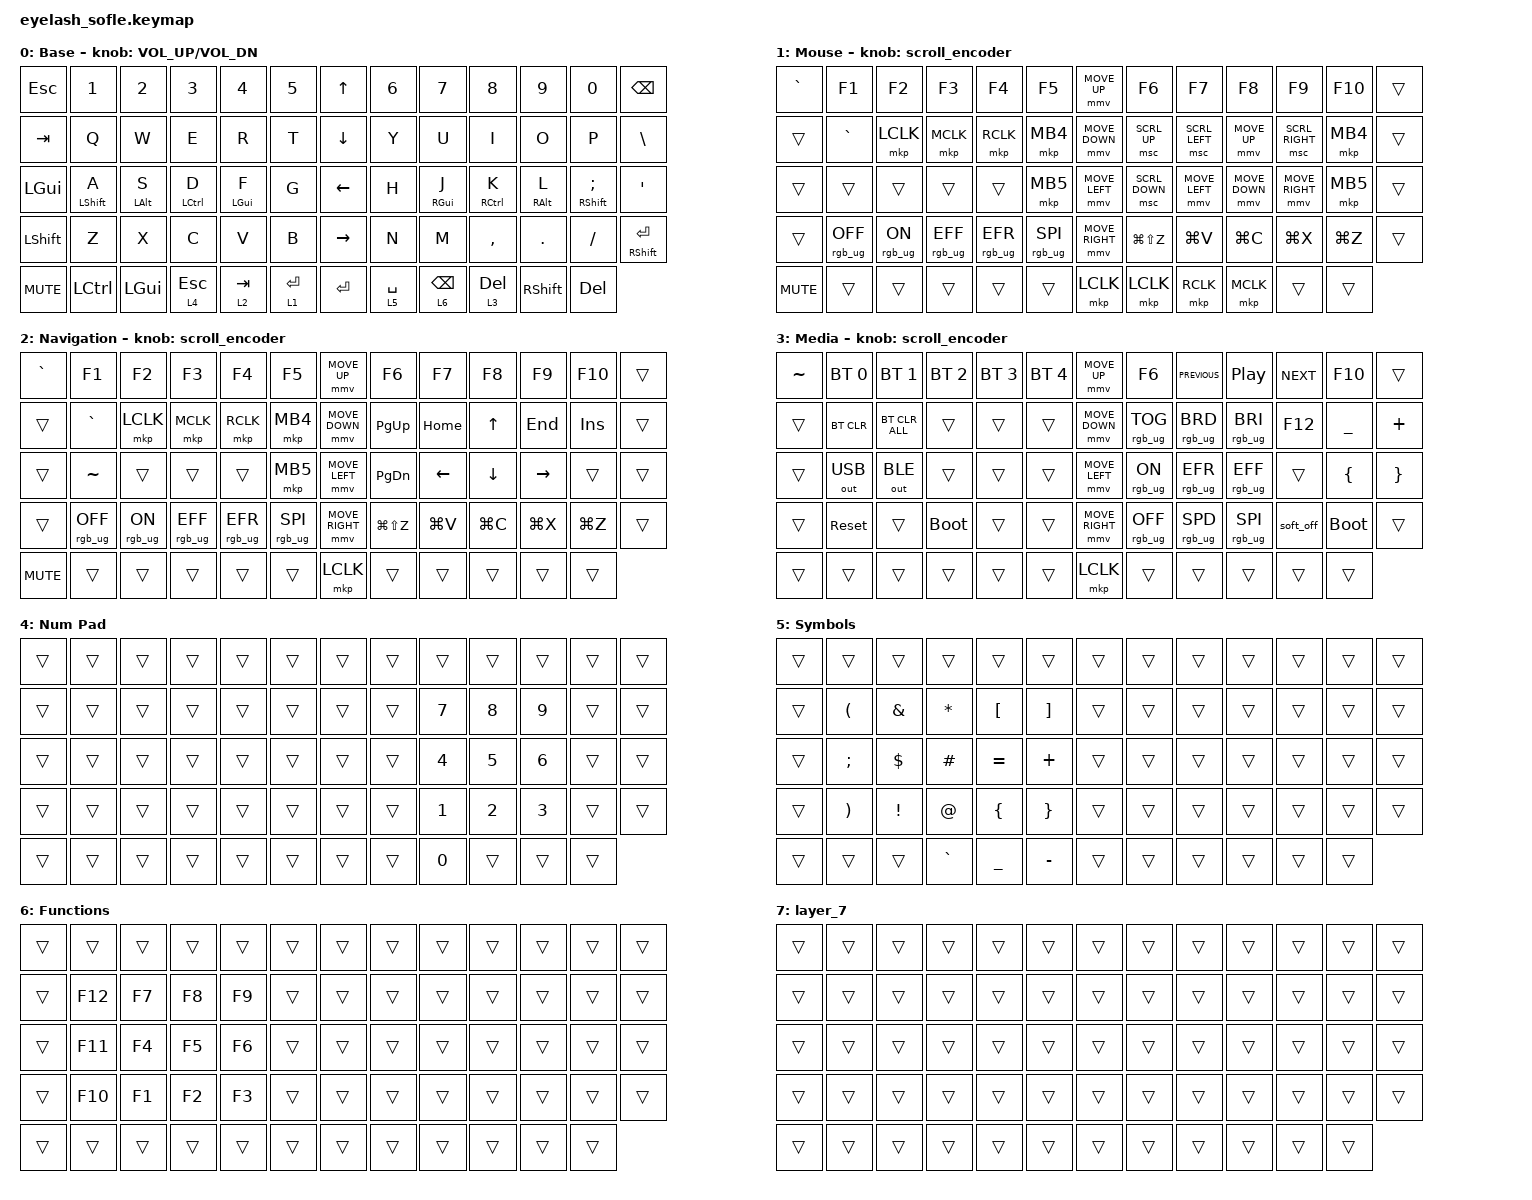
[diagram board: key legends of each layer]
#define ZMK_POINTING_DEFAULT_MOVE_VAL 1200  // 600
#define ZMK_POINTING_DEFAULT_SCRL_VAL 25   // 10

#include <input/processors.dtsi>
#include <zephyr/dt-bindings/input/input-event-codes.h>
#include <behaviors.dtsi>
#include <dt-bindings/zmk/bt.h>
#include <dt-bindings/zmk/keys.h>
#include <dt-bindings/zmk/outputs.h>
#include <dt-bindings/zmk/pointing.h>
#include <dt-bindings/zmk/rgb.h>

&mmv_input_listener { input-processors = <&zip_xy_scaler 2 1>; };

&msc_input_listener { input-processors = <&zip_scroll_scaler 2 1>; };

&msc {
    acceleration-exponent = <1>;      // 0
    time-to-max-speed-ms = <100>;       // 300
    delay-ms = <0>;                   // 0
};

&mmv {
    time-to-max-speed-ms = <500>;
    acceleration-exponent = <1>;
    trigger-period-ms = <16>;
};

/ {
    scroll_encoder: scroll_encoder {
        compatible = "zmk,behavior-sensor-rotate";
        #sensor-binding-cells = <0>;
        bindings = <&msc SCRL_DOWN>, <&msc SCRL_UP>;

        tap-ms = <100>;
    };

    behaviors {
        hml: home_row_mod_left {
            compatible = "zmk,behavior-hold-tap";
            #binding-cells = <2>;
            flavor = "balanced";
            require-prior-idle-ms = <150>;
            tapping-term-ms = <280>;
            quick-tap-ms = <175>;
            bindings = <&kp>, <&kp>;

            hold-trigger-key-positions = <7 8 9 10 11 12 20 21 22 23 24 25 33 34 35 36 37 38 46 47 48 49 50 51 59 60 61 62 63>; // Right side keys
            hold-trigger-on-release;
        };

        hmr: home_row_mod_right {
            compatible = "zmk,behavior-hold-tap";
            #binding-cells = <2>;
            flavor = "balanced";
            require-prior-idle-ms = <150>;
            tapping-term-ms = <280>;
            quick-tap-ms = <175>;
            bindings = <&kp>, <&kp>;

            hold-trigger-key-positions = <0 1 2 3 4 5 13 14 15 16 17 18 26 27 28 29 30 31 39 40 41 42 43 44 52 53 54 55 56 57>; // Left side keys
            hold-trigger-on-release;
        };
    };

    keymap {
        compatible = "zmk,keymap";

        BASE {
            bindings = <
&kp ESC       &kp N1             &kp N2           &kp N3        &kp N4           &kp N5         &kp UP_ARROW     &kp N6       &kp N7            &kp N8        &kp N9            &kp N0                &kp BACKSPACE
&kp TAB       &kp Q              &kp W            &kp E         &kp R            &kp T          &kp DOWN_ARROW   &kp Y        &kp U             &kp I         &kp O             &kp P                 &kp BSLH
&kp LEFT_GUI  &hml LEFT_SHIFT A  &hml LEFT_ALT S  &hml LCTRL D  &hml LEFT_GUI F  &kp G          &kp LEFT_ARROW   &kp H        &hmr RIGHT_GUI J  &hmr RCTRL K  &hmr RIGHT_ALT L  &hmr RSHFT SEMICOLON  &kp APOS
&kp LSHFT     &kp Z              &kp X            &kp C         &kp V            &kp B          &kp RIGHT_ARROW  &kp N        &kp M             &kp COMMA     &kp DOT           &kp FSLH              &mt RIGHT_SHIFT ENTER
&kp C_MUTE    &kp LCTRL          &kp LEFT_GUI     &lt 4 ESC     &lt 2 TAB        &lt 1 ENTER    &kp ENTER        &lt 5 SPACE  &lt 6 BACKSPACE   &lt 3 DEL     &kp RIGHT_SHIFT   &kp DELETE
            >;

            display-name = "Base";
            sensor-bindings = <&inc_dec_kp C_VOLUME_UP C_VOL_DN>;
        };

        MOUSE {
            bindings = <
&kp GRAVE   &kp F1           &kp F2          &kp F3           &kp F4           &kp F5             &mmv MOVE_UP     &kp F6          &kp F7          &kp F8          &kp F9           &kp F10    &trans
&trans      &kp GRAVE        &mkp LCLK       &mkp MCLK        &mkp RCLK        &mkp MB4           &mmv MOVE_DOWN   &msc SCRL_UP    &msc SCRL_LEFT  &mmv MOVE_UP    &msc SCRL_RIGHT  &mkp MB4   &trans
&trans      &trans           &trans          &trans           &trans           &mkp MB5           &mmv MOVE_LEFT   &msc SCRL_DOWN  &mmv MOVE_LEFT  &mmv MOVE_DOWN  &mmv MOVE_RIGHT  &mkp MB5   &trans
&trans      &rgb_ug RGB_OFF  &rgb_ug RGB_ON  &rgb_ug RGB_EFF  &rgb_ug RGB_EFR  &rgb_ug RGB_SPI    &mmv MOVE_RIGHT  &kp LG(LS(Z))   &kp LG(V)       &kp LG(C)       &kp LG(X)        &kp LG(Z)  &trans
&kp C_MUTE  &trans           &trans          &trans           &trans           &trans             &mkp LCLK        &mkp LCLK       &mkp RCLK       &mkp MCLK       &trans           &trans
            >;

            display-name = "Mouse";
            sensor-bindings = <&scroll_encoder>;
        };

        NAV {
            bindings = <
&kp GRAVE   &kp F1           &kp F2          &kp F3           &kp F4           &kp F5             &mmv MOVE_UP     &kp F6         &kp F7          &kp F8        &kp F9     &kp F10    &trans
&trans      &kp GRAVE        &mkp LCLK       &mkp MCLK        &mkp RCLK        &mkp MB4           &mmv MOVE_DOWN   &kp PAGE_UP    &kp HOME        &kp UP_ARROW  &kp END    &kp INS    &trans
&trans      &kp TILDE        &trans          &trans           &trans           &mkp MB5           &mmv MOVE_LEFT   &kp PAGE_DOWN  &kp LEFT_ARROW  &kp DOWN      &kp RIGHT  &trans     &trans
&trans      &rgb_ug RGB_OFF  &rgb_ug RGB_ON  &rgb_ug RGB_EFF  &rgb_ug RGB_EFR  &rgb_ug RGB_SPI    &mmv MOVE_RIGHT  &kp LG(LS(Z))  &kp LG(V)       &kp LG(C)     &kp LG(X)  &kp LG(Z)  &trans
&kp C_MUTE  &trans           &trans          &trans           &trans           &trans             &mkp LCLK        &trans         &trans          &trans        &trans     &trans
            >;

            display-name = "Navigation";
            sensor-bindings = <&scroll_encoder>;
        };

        MEDIA {
            bindings = <
&kp TILDE  &bt BT_SEL 0  &bt BT_SEL 1    &bt BT_SEL 2  &bt BT_SEL 3  &bt BT_SEL 4    &mmv MOVE_UP     &kp F6           &kp C_PREVIOUS   &kp C_PLAY_PAUSE  &kp C_NEXT  &kp F10      &trans
&trans     &bt BT_CLR    &bt BT_CLR_ALL  &trans        &trans        &trans          &mmv MOVE_DOWN   &rgb_ug RGB_TOG  &rgb_ug RGB_BRD  &rgb_ug RGB_BRI   &kp F12     &kp UNDER    &kp PLUS
&trans     &out OUT_USB  &out OUT_BLE    &trans        &trans        &trans          &mmv MOVE_LEFT   &rgb_ug RGB_ON   &rgb_ug RGB_EFR  &rgb_ug RGB_EFF   &trans      &kp LBRC     &kp RBRC
&trans     &sys_reset    &trans          &bootloader   &trans        &trans          &mmv MOVE_RIGHT  &rgb_ug RGB_OFF  &rgb_ug RGB_SPD  &rgb_ug RGB_SPI   &soft_off   &bootloader  &trans
&trans     &trans        &trans          &trans        &trans        &trans          &mkp LCLK        &trans           &trans           &trans            &trans      &trans
            >;

            sensor-bindings = <&scroll_encoder>;
            display-name = "Media";
        };

        NUM {
            bindings = <
&trans  &trans  &trans  &trans  &trans  &trans    &trans  &trans  &trans        &trans        &trans        &trans  &trans
&trans  &trans  &trans  &trans  &trans  &trans    &trans  &trans  &kp N7        &kp N8        &kp N9        &trans  &trans
&trans  &trans  &trans  &trans  &trans  &trans    &trans  &trans  &kp NUMBER_4  &kp N5        &kp NUMBER_6  &trans  &trans
&trans  &trans  &trans  &trans  &trans  &trans    &trans  &trans  &kp NUMBER_1  &kp NUMBER_2  &kp NUMBER_3  &trans  &trans
&trans  &trans  &trans  &trans  &trans  &trans    &trans  &trans  &kp N0        &trans        &trans        &trans
            >;

            label = "Num Pad";
        };

        SYM {
            bindings = <
&trans  &trans                 &trans           &trans        &trans            &trans               &trans  &trans  &trans  &trans  &trans  &trans  &trans
&trans  &kp LEFT_PARENTHESIS   &kp AMPERSAND    &kp ASTERISK  &kp LEFT_BRACKET  &kp RIGHT_BRACKET    &trans  &trans  &trans  &trans  &trans  &trans  &trans
&trans  &kp SEMI               &kp DOLLAR       &kp HASH      &kp EQUAL         &kp PLUS             &trans  &trans  &trans  &trans  &trans  &trans  &trans
&trans  &kp RIGHT_PARENTHESIS  &kp EXCLAMATION  &kp AT_SIGN   &kp LEFT_BRACE    &kp RIGHT_BRACE      &trans  &trans  &trans  &trans  &trans  &trans  &trans
&trans  &trans                 &trans           &kp GRAVE     &kp UNDER         &kp MINUS            &trans  &trans  &trans  &trans  &trans  &trans
            >;

            display-name = "Symbols";
        };

        FUNC {
            bindings = <
&trans  &trans   &trans  &trans  &trans  &trans    &trans  &trans  &trans  &trans  &trans  &trans  &trans
&trans  &kp F12  &kp F7  &kp F8  &kp F9  &trans    &trans  &trans  &trans  &trans  &trans  &trans  &trans
&trans  &kp F11  &kp F4  &kp F5  &kp F6  &trans    &trans  &trans  &trans  &trans  &trans  &trans  &trans
&trans  &kp F10  &kp F1  &kp F2  &kp F3  &trans    &trans  &trans  &trans  &trans  &trans  &trans  &trans
&trans  &trans   &trans  &trans  &trans  &trans    &trans  &trans  &trans  &trans  &trans  &trans
            >;

            display-name = "Functions";
        };

        layer_7 {
            bindings = <
&trans  &trans  &trans  &trans  &trans  &trans    &trans  &trans  &trans  &trans  &trans  &trans  &trans
&trans  &trans  &trans  &trans  &trans  &trans    &trans  &trans  &trans  &trans  &trans  &trans  &trans
&trans  &trans  &trans  &trans  &trans  &trans    &trans  &trans  &trans  &trans  &trans  &trans  &trans
&trans  &trans  &trans  &trans  &trans  &trans    &trans  &trans  &trans  &trans  &trans  &trans  &trans
&trans  &trans  &trans  &trans  &trans  &trans    &trans  &trans  &trans  &trans  &trans  &trans
            >;
        };
    };
};
